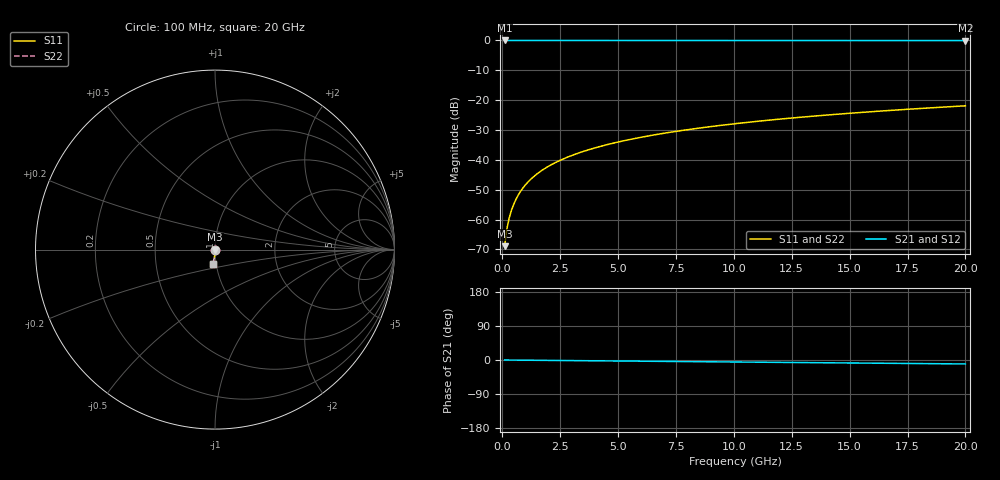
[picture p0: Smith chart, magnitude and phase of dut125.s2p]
! Touchstone file exported from HFSS 2026.1.0
!  File:  C:/ffzhzh/LocalFiles/Ansys_Project_Files/temp_train_TSV_125_1782990045_41620.aedt
!  Generated:  07:02:18 PM Jul  2, 2026
!  Design:  TSV
!  Project:  temp_train_TSV_125_1782990045_41620
! Variables:
!  h_bsmrdl = 2um
!  h_ox = 20um
!  h_rdl = 5um
!  h_sub = 99.9um
!  h_tmrdl = 5um
!  h_tsv = 99.9um
!  h_via = 3um
!  l_bsmrdl = 300um
!  l_sub = 429.5um
!  l_tmrdl = 200um
!  m_sub = 200um
!  pitch = 40.44um
!  r_tsv = 14.75um
!  s_tmrdl = 10um
!  w_bsmrdl = 18um
!  w_sub = 500um
!  w_tmrdl = 12um
!  x_tsv_center1 = 206um
!  x_tsv_center2 = 524um
!  x_tsv_center3 = 736um
!  x_tsv_center4 = 1054um
!  x_tsv_center5 = 1266um
!  x_tsv_center6 = 1584um
# GHz S MA R 50.000000
! Terminal data exported
! Port[1] = TSV1_1_T1
! Port[2] = TSV1_1_T2
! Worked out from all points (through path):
!   200 points, 100 MHz to 20 GHz, reference 50 ohm
!   highest |S21| = 0.00 dB at 100 MHz (marker M1); lowest = 0.0 dB at 20 GHz (marker M2)
!   group delay of S21, straight-line fit = 1.45 ps
!   lowest |S11| = -68.9 dB at 100 MHz (marker M3), VSWR 1.00, Z = 50 - j0.0346 ohm
!   |S11| at or under -10 dB: start of sweep to end of sweep
!   |S22| runs from -68.9 to -21.9 dB; largest |S21 - S12| = 2.2e-15
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0.1  0.0003587 -74.9  0.9999 -0.1  0.9999 -0.1  0.0003587 -74.9
! Gamma 0 0 0 0
! Port Impedance 50 0 50 0
0.2  0.0007081 -80.8  0.9999 -0.1  0.9999 -0.1  0.0007081 -80.8
0.3  0.001071 -82.4  0.9999 -0.2  0.9999 -0.2  0.001071 -82.4
0.4  0.001446 -83.1  0.9998 -0.2  0.9998 -0.2  0.001446 -83.1
0.5  0.00183 -83.6  0.9998 -0.3  0.9998 -0.3  0.00183 -83.6
0.7  0.002617 -84.5  0.9997 -0.4  0.9997 -0.4  0.002617 -84.5
0.8  0.003016 -84.9  0.9997 -0.4  0.9997 -0.4  0.003016 -84.9
1  0.003818 -85.5  0.9997 -0.5  0.9997 -0.5  0.003818 -85.5
1.2  0.004621 -86.1  0.9996 -0.6  0.9996 -0.6  0.004621 -86.1
1.4  0.005425 -86.7  0.9996 -0.7  0.9996 -0.7  0.005425 -86.7
1.7  0.00663 -87.3  0.9996 -0.9  0.9996 -0.9  0.00663 -87.3
2  0.007834 -87.8  0.9995 -1.1  0.9995 -1.1  0.007834 -87.8
2.7  0.01064 -88.7  0.9994 -1.4  0.9994 -1.4  0.01064 -88.7
3.5  0.01386 -89.5  0.9993 -1.8  0.9993 -1.8  0.01386 -89.5
4.2  0.01667 -90.1  0.9992 -2.2  0.9992 -2.2  0.01667 -90.1
5  0.0199 -90.7  0.9991 -2.6  0.9991 -2.6  0.0199 -90.7
6.8  0.02718 -91.9  0.9988 -3.6  0.9988 -3.6  0.02718 -91.9
8.3  0.03325 -92.8  0.9986 -4.4  0.9986 -4.4  0.03325 -92.8
10.1  0.04054 -93.9  0.9982 -5.3  0.9982 -5.3  0.04054 -93.9
13.4  0.05388 -95.8  0.9974 -7.0  0.9974 -7.0  0.05388 -95.8
16.7  0.06716 -97.7  0.9965 -8.7  0.9965 -8.7  0.06716 -97.7
20  0.0804 -99.4  0.9954 -10.4  0.9954 -10.4  0.0804 -99.4
